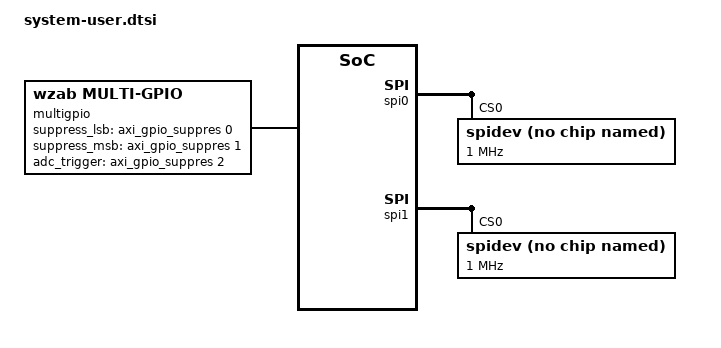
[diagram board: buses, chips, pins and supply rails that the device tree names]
/include/ "system-conf.dtsi"
/ {
};

&spi0{
  is-decoded-cs = <0>;
  num-cs = <1>;
  status = "okay";
  bus-num = <0>;
  spidev@0x00 {
    compatible = "spidev";
    spi-max-frequency = <1000000>;
    spi-cpol;
    spi-cpha;
    reg = <0>;
    bus-num = <0>;
  };
};

&spi1{
   status = "okay";
   is-decoded-cs = <0>;
   num-cs = <1>;
   status = "okay";
   bus-num = <1>;
   spidev@0x00 {
     compatible = "spidev";
     spi-max-frequency = <1000000>;
     spi-cpol;
     spi-cpha;
     reg = <0>;
     bus-num = <1>;
  };
};

&amba_pl {
    dma_proxy{
        compatible ="xlnx,dma_proxy";
        dmas = <&axi_dma_0 0
                &axi_dma_0 1
                &axi_dma_1 1>;
        dma-names = "dma_proxy_tx_0", "dma_proxy_rx_0", "dma_proxy_rx_1";
    };
};

&amba_pl {
    multigpio {
        compatible = "wzab,multi-gpio";
        suppress_lsb-gpios   = <&axi_gpio_suppres 0 0>;
        suppress_msb-gpios   = <&axi_gpio_suppres 1 0>;
        adc_trigger-gpios    = <&axi_gpio_suppres 2 0>;
    };
};
